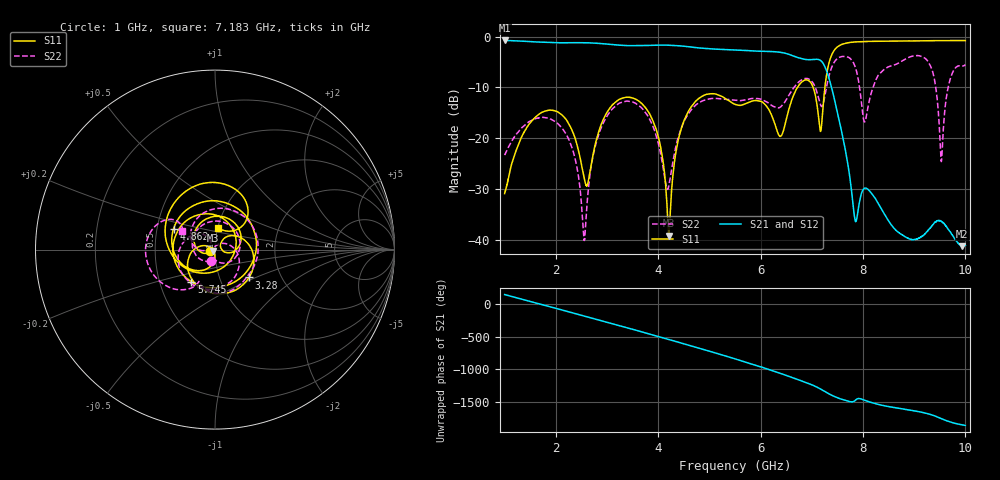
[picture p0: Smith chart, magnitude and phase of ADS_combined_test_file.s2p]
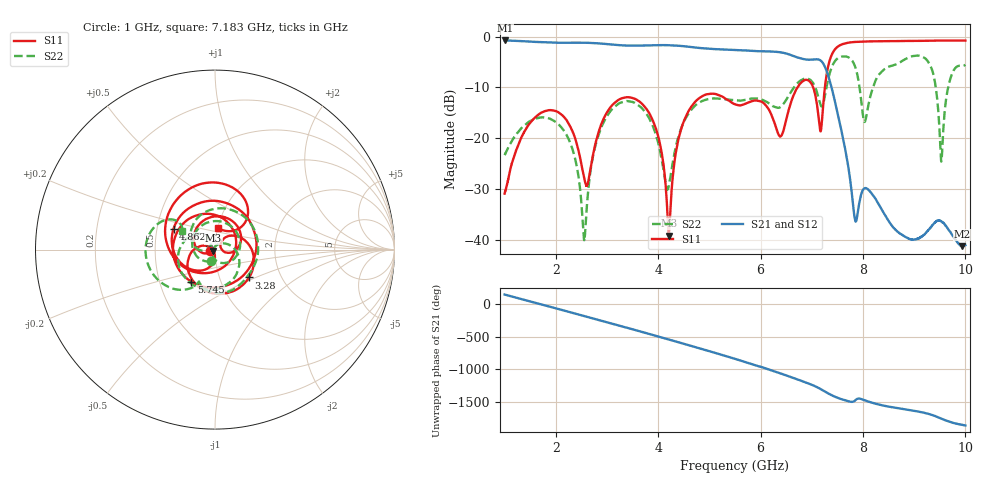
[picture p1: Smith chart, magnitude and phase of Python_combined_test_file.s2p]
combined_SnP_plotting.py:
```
import skrf as rf
import numpy as np
import os
import matplotlib.pyplot as plt
from matplotlib.ticker import (MultipleLocator, FormatStrFormatter, AutoMinorLocator)


# ---------------------User Input--------------------------------
# Frequency Range
freq_lower = 1e9
freq_upper = 9e9

# plot attributes
freq_step = 1e9
plt_ylim = [-30, 0]     # y axis limit: 0 to -20dB
plt_ytick = np.arange(-30, 5, 5)
plt_xlim = [freq_lower, freq_upper]
plt_xtick = np.arange(freq_lower, freq_upper+freq_step, freq_step)
plt_title_s_para = 'ADS vs Python S-Parameter 1; ' + str(int(freq_lower/1e9)) + '-' + str(int(freq_upper/1e9)) + 'Ghz'
plt_title2 = ''
plt_title_s_para = plt_title_s_para + plt_title2
plt_title_smith = 'ADS vs Python Smith Chart 1; ' + str(int(freq_lower/1e9)) + '-' + str(int(freq_upper/1e9)) + 'Ghz'
plt_title_smith = plt_title_smith + plt_title2
# -----------------------------------------------------------------

# reading file
# TouchStone File Path = Current directory + file name
ADS_combined_TS_file = os.getcwd() + "\\S Parameter\\ADS_combined_test_file.s2p"
ADS_combined_network = rf.Network(ADS_combined_TS_file)   # open touch stone file

Python_combined_TS_file = os.getcwd() + "\\S Parameter\\Python_combined_test_file.s2p"
Python_combined_network = rf.Network(Python_combined_TS_file)   # open touch stone file

# change network parameter
ADS_combined_network.crop(freq_lower, freq_upper, "Hz")   # only use data from 1-6Ghz
ADS_combined_network.frequency.unit = 'GHz'

Python_combined_network.crop(freq_lower, freq_upper, "Hz")   # only use data from 1-6Ghz
Python_combined_network.frequency.unit = 'GHz'

# plot data
fig1, ax1 = plt.subplots(1)
# ADS_combined_network.plot_s_db(m=0, n=0, label='ADS s11', color='r')     # zero indexing; 0 refers to port 1
# ADS_combined_network.plot_s_db(m=1, n=0, label='ADS s21', color='b')     # zero indexing; 0 refers to port 1
# ADS_combined_network.plot_s_db(m=0, n=1, label='ADS s12', color='g')     # zero indexing; 0 refers to port 1
# ADS_combined_network.plot_s_db(m=1, n=1, label='ADS s22', color='y')     # zero indexing; 0 refers to port 1

Python_combined_network.plot_s_db(m=0, n=0, label='Python s11', color='r', linestyle='--')     # zero indexing; 0 refers to port 1
Python_combined_network.plot_s_db(m=1, n=0, label='Python s21', color='b', linestyle='--')     # zero indexing; 0 refers to port 1
Python_combined_network.plot_s_db(m=0, n=1, label='Python s12', color='g', linestyle='--')     # zero indexing; 0 refers to port 1
Python_combined_network.plot_s_db(m=1, n=1, label='Python s22', color='y', linestyle='--')     # zero indexing; 0 refers to port 1

ax1.set_ylim(plt_ylim)
ax1.yaxis.set_ticks(plt_ytick)
ax1.set_xlim(plt_xlim)
ax1.xaxis.set_ticks(plt_xtick)
ax1.yaxis.set_minor_locator(AutoMinorLocator())      # show minor tick
ax1.xaxis.set_minor_locator(AutoMinorLocator())      # show minor tick
ax1.grid(True, which='major', linestyle='-')
ax1.grid(True, which='minor', linestyle=':')
ax1.legend(loc='upper left', bbox_to_anchor=(1, 1))  # loc='legend box ref position'
ax1.set_title(plt_title_s_para)
fig1.set_size_inches(12, 6)
plt.subplots_adjust(left=0.1, right=0.8)
plt.savefig(fname=plt_title_s_para, dpi=300, bbox_inches='tight')

fig1, ax1 = plt.subplots(1)
ADS_combined_network.plot_s_smith(m=0, n=0, label='ADS s11', color='r')
ADS_combined_network.plot_s_smith(m=1, n=1, label='ADS s22', color='y')

Python_combined_network.plot_s_smith(m=0, n=0, label='Python s11', color='r', linestyle='--')     # zero indexing; 0 refers to port 1
Python_combined_network.plot_s_smith(m=1, n=1, label='Python s22', color='y', linestyle='--')     # zero indexing; 0 refers to port 1

ax1.set_title(plt_title_smith)
ax1.legend(loc='upper left', bbox_to_anchor=(0.9, 0.9))  # loc='legend box ref position'
fig1.set_size_inches(6, 6)
plt.savefig(fname=plt_title_smith, dpi=300, bbox_inches='tight')

plt.show()
```
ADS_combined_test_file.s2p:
! Created Mon Apr 27 22:15:44 2020
# hz S ri R 50
! 2 Port Network Data from SP1.SP block
! freq  reS11  imS11  reS21  imS21  reS12  imS12  reS22  imS22
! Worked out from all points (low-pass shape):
!   9001 points, 1 GHz to 10 GHz, reference 50 ohm
!   highest |S21| = -0.76 dB at 1.007 GHz (marker M1); lowest = -41.3 dB at 9.941 GHz (marker M2)
!   |S21| within 3 dB of the highest: start of sweep to 6.623 GHz
!   lowest |S11| = -39.2 dB at 4.205 GHz (marker M3), VSWR 1.02, Z = 49.1 - j0.536 ohm
!   |S11| at or under -10 dB: start of sweep to 6.72 GHz; 7.026 GHz to 7.256 GHz (229.2 MHz wide, 3.21 % of centre)
!   |S22| runs from -40.2 to -3.7 dB; largest |S21 - S12| = 0.042
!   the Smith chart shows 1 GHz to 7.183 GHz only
!   S11 on the Smith chart (normalised r, x): 1 GHz: 0.95, -0.02; 3.28 GHz: 1.38, -0.46; 4.862 GHz: 0.61, +0.15; 5.745 GHz: 0.72, -0.27; 7.183 GHz: 1.00, +0.25
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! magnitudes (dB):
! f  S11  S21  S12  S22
! 1 GHz  -31.0  -0.8  -0.8  -23.4
! 1.007 GHz  -30.7  -0.8  -0.8  -23.2
! 3.28 GHz  -12.2  -1.7  -1.7  -13.0
! 4.205 GHz  -39.2  -1.7  -1.7  -29.5
! 4.862 GHz  -11.7  -2.3  -2.3  -12.7
! 5.5 GHz  -13.3  -2.7  -2.7  -12.5
! 5.745 GHz  -13.1  -2.8  -2.7  -12.4
! 7.183 GHz  -18.2  -4.8  -4.8  -13.7
! 7.854 GHz  -1.0  -36.4  -36.4  -6.2
! 9.941 GHz  -0.8  -41.3  -41.3  -5.8
! 10 GHz  -0.8  -41.1  -41.1  -5.5
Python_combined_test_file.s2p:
!Created with skrf (http://scikit-rf.org).
# GHz S RI R 50.0
!freq ReS11 ImS11 ReS21 ImS21 ReS12 ImS12 ReS22 ImS22
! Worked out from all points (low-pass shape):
!   9001 points, 1 GHz to 10 GHz, reference 50 ohm
!   highest |S21| = -0.76 dB at 1.007 GHz (marker M1); lowest = -41.3 dB at 9.941 GHz (marker M2)
!   |S21| within 3 dB of the highest: start of sweep to 6.623 GHz
!   lowest |S11| = -39.2 dB at 4.205 GHz (marker M3), VSWR 1.02, Z = 49.1 - j0.536 ohm
!   |S11| at or under -10 dB: start of sweep to 6.72 GHz; 7.026 GHz to 7.256 GHz (229.2 MHz wide, 3.21 % of centre)
!   |S22| runs from -40.2 to -3.7 dB; largest |S21 - S12| = 0.042
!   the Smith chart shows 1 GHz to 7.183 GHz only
!   S11 on the Smith chart (normalised r, x): 1 GHz: 0.95, -0.02; 3.28 GHz: 1.38, -0.46; 4.862 GHz: 0.61, +0.15; 5.745 GHz: 0.72, -0.27; 7.183 GHz: 1.00, +0.25
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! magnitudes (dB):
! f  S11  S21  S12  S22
! 1 GHz  -31.0  -0.8  -0.8  -23.4
! 1.007 GHz  -30.7  -0.8  -0.8  -23.2
! 3.28 GHz  -12.2  -1.7  -1.7  -13.0
! 4.205 GHz  -39.2  -1.7  -1.7  -29.5
! 4.862 GHz  -11.7  -2.3  -2.3  -12.7
! 5.5 GHz  -13.3  -2.7  -2.7  -12.5
! 5.745 GHz  -13.1  -2.8  -2.7  -12.4
! 7.183 GHz  -18.2  -4.8  -4.8  -13.7
! 7.854 GHz  -1.0  -36.4  -36.4  -6.2
! 9.941 GHz  -0.8  -41.3  -41.3  -5.8
! 10 GHz  -0.8  -41.1  -41.1  -5.5
